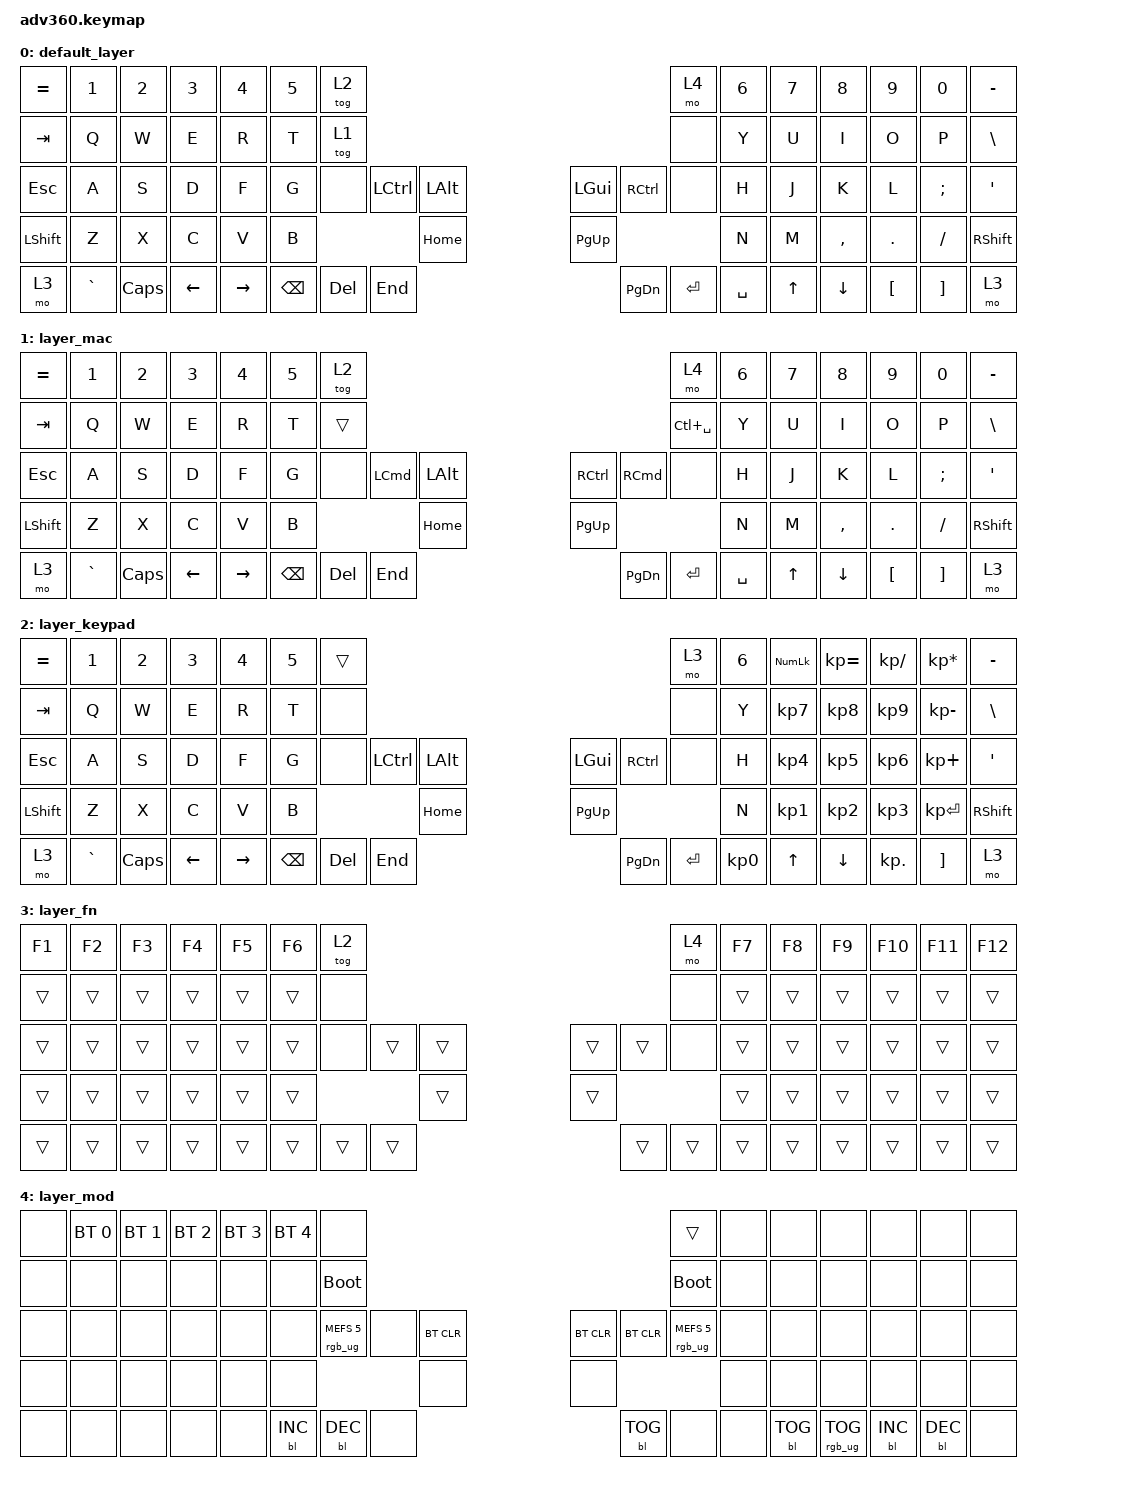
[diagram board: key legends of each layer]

/*
 * Copyright (c) 2020 The ZMK Contributors
 *
 * SPDX-License-Identifier: MIT
 */


/* THIS FILE WAS GENERATED!
 *
 * This file was generated automatically. You may or may not want to
 * edit it directly.
 */

#include <behaviors.dtsi>
#include <dt-bindings/zmk/keys.h>
#include <dt-bindings/zmk/bt.h>
#include <dt-bindings/zmk/rgb.h>
#include <dt-bindings/zmk/backlight.h>

/ {
  behaviors {
    #include "macros.dtsi"

    hm: homerow_mods {
        compatible = "zmk,behavior-hold-tap";
        label = "HOMEROW_MODS";
        #binding-cells = <2>;
        tapping-term-ms = <200>;
        quick_tap_ms = <175>;
        flavor = "tap-preferred";
        bindings = <&kp>, <&kp>;
    };
  };

    keymap {
        compatible = "zmk,keymap";


        default_layer {
            bindings = <
 &kp EQUAL     &kp N1    &kp N2    &kp N3     &kp N4  &kp N5              &tog 2                                                                 &mo 4  &kp N6  &kp N7     &kp N8    &kp N9    &kp N0  &kp MINUS
   &kp TAB      &kp Q     &kp W     &kp E      &kp R   &kp T              &tog 1                                                                 &none   &kp Y   &kp U      &kp I     &kp O     &kp P   &kp BSLH
   &kp ESC      &kp A     &kp S     &kp D      &kp F   &kp G               &none  &kp LCTRL  &kp LALT                   &kp LGUI  &kp RCTRL      &none   &kp H   &kp J      &kp K     &kp L  &kp SEMI    &kp SQT
 &kp LSHFT      &kp Z     &kp X     &kp C      &kp V   &kp B                                 &kp HOME                  &kp PG_UP                         &kp N   &kp M  &kp COMMA   &kp DOT  &kp FSLH  &kp RSHFT
     &mo 3  &kp GRAVE  &kp CAPS  &kp LEFT  &kp RIGHT                    &kp BSPC    &kp DEL   &kp END                  &kp PG_DN  &kp ENTER  &kp SPACE          &kp UP   &kp DOWN  &kp LBKT  &kp RBKT      &mo 3
            >;
        };

        layer_mac {
            bindings = <
  &kp EQUAL     &kp N1    &kp N2          &kp N3           &kp N4  &kp N5              &tog 2                                                                                        &mo 4  &kp N6        &kp N7          &kp N8    &kp N9         &kp N0         &kp MINUS
    &kp TAB      &kp Q     &kp W           &kp E            &kp R   &kp T              &trans                                                                                &kp LC(SPACE)   &kp Y         &kp U           &kp I     &kp O          &kp P     &kp BACKSLASH
    &kp ESC      &kp A     &kp S           &kp D            &kp F   &kp G               &none  &kp LEFT_COMMAND  &kp LEFT_ALT                  &kp RCTRL  &kp RIGHT_COMMAND          &none   &kp H         &kp J           &kp K     &kp L  &kp SEMICOLON  &kp SINGLE_QUOTE
 &kp LSHIFT      &kp Z     &kp X           &kp C            &kp V   &kp B                                            &kp HOME                  &kp PG_UP                                     &kp N         &kp M       &kp COMMA   &kp DOT      &kp SLASH   &kp RIGHT_SHIFT
      &mo 3  &kp GRAVE  &kp CAPS  &kp LEFT_ARROW  &kp RIGHT_ARROW                    &kp BSPC           &kp DEL       &kp END                  &kp PG_DN          &kp ENTER      &kp SPACE          &kp UP_ARROW  &kp DOWN_ARROW  &kp LBKT       &kp RBKT             &mo 3
            >;
        };

        layer_keypad {
            bindings = <
 &kp EQUAL     &kp N1    &kp N2    &kp N3     &kp N4  &kp N5              &trans                                                                 &mo 3  &kp N6  &kp KP_NUM  &kp KP_EQUAL  &kp KP_DIVIDE  &kp KP_MULTIPLY  &kp MINUS
   &kp TAB      &kp Q     &kp W     &kp E      &kp R   &kp T               &none                                                                 &none   &kp Y   &kp KP_N7     &kp KP_N8      &kp KP_N9     &kp KP_MINUS   &kp BSLH
   &kp ESC      &kp A     &kp S     &kp D      &kp F   &kp G               &none  &kp LCTRL  &kp LALT                   &kp LGUI  &kp RCTRL      &none   &kp H   &kp KP_N4     &kp KP_N5      &kp KP_N6      &kp KP_PLUS    &kp SQT
 &kp LSHFT      &kp Z     &kp X     &kp C      &kp V   &kp B                                 &kp HOME                  &kp PG_UP                         &kp N   &kp KP_N1     &kp KP_N2      &kp KP_N3     &kp KP_ENTER  &kp RSHFT
     &mo 3  &kp GRAVE  &kp CAPS  &kp LEFT  &kp RIGHT                    &kp BSPC    &kp DEL   &kp END                  &kp PG_DN  &kp ENTER  &kp KP_N0              &kp UP      &kp DOWN     &kp KP_DOT         &kp RBKT      &mo 3
            >;
        };

        layer_fn {
            bindings = <
 &kp F1  &kp F2  &kp F3  &kp F4  &kp F5  &kp F6            &tog 2                                                   &mo 4  &kp F7  &kp F8  &kp F9  &kp F10  &kp F11  &kp F12
 &trans  &trans  &trans  &trans  &trans  &trans             &none                                                   &none  &trans  &trans  &trans   &trans   &trans   &trans
 &trans  &trans  &trans  &trans  &trans  &trans             &none  &trans  &trans                  &trans  &trans   &none  &trans  &trans  &trans   &trans   &trans   &trans
 &trans  &trans  &trans  &trans  &trans  &trans                            &trans                  &trans                  &trans  &trans  &trans   &trans   &trans   &trans
 &trans  &trans  &trans  &trans  &trans                    &trans  &trans  &trans                  &trans  &trans  &trans          &trans  &trans   &trans   &trans   &trans
            >;
        };

        layer_mod {
            bindings = <
  &none  &bt BT_SEL 0  &bt BT_SEL 1  &bt BT_SEL 2  &bt BT_SEL 3  &bt BT_SEL 4                             &none                                                                                  &trans   &none       &none            &none       &none       &none   &none
  &none         &none         &none         &none         &none         &none                       &bootloader                                                                             &bootloader   &none       &none            &none       &none       &none   &none
  &none         &none         &none         &none         &none         &none            &rgb_ug RGB_MEFS_CMD 5       &none  &bt BT_CLR                  &bt BT_CLR  &bt BT_CLR  &rgb_ug RGB_MEFS_CMD 5   &none       &none            &none       &none       &none   &none
  &none         &none         &none         &none         &none         &none                                                     &none                       &none                                       &none       &none            &none       &none       &none   &none
  &none         &none         &none         &none         &none                                      &bl BL_INC  &bl BL_DEC       &none                  &bl BL_TOG       &none                   &none          &bl BL_TOG  &rgb_ug RGB_TOG  &bl BL_INC  &bl BL_DEC   &none
            >;
        };

    };
};
